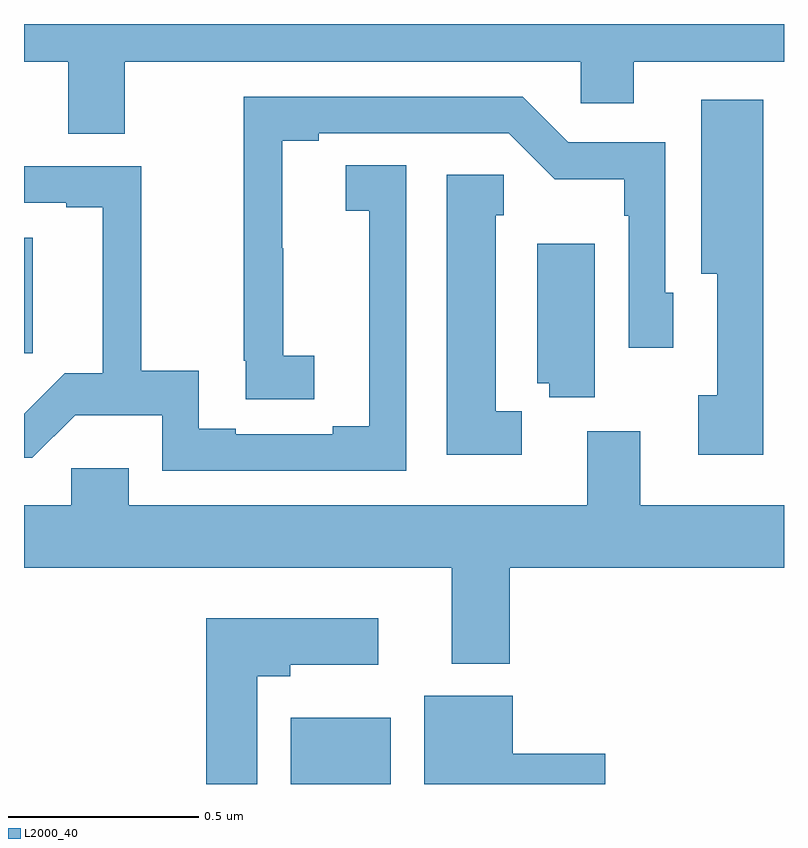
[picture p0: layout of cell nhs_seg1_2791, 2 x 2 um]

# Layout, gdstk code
import gdstk
lib = gdstk.Library(unit=1e-6, precision=1e-09)
def R(c, l, rs):  # rectangles x0, y0, x1, y1
    for r in rs: c.add(gdstk.rectangle(r[:2], r[2:], *l))
def P(c, l, *ps):  # polygons
    for p in ps: c.add(gdstk.Polygon(p, *l))
L2000_40 = (2000, 40)

nhs_seg1_2791 = lib.new_cell('nhs_seg1_2791')
R(nhs_seg1_2791, L2000_40, [(146.702,515.199,146.965,515.374), (146,516.332,146.023,516.637)])
P(nhs_seg1_2791, L2000_40, [(146.265,517.1),(147.465,517.1),(147.465,516.99),(147.604,516.99),(147.604,517.1),(148,517.1),(148,517.199),(146,517.199),(146,517.1),(146.117,517.1),(146.117,516.91),(146.265,516.91)],
  [(146.764,516.326),(146.682,516.326),(146.682,516.609),(146.68,516.609),(146.68,516.892),(146.776,516.892),(146.776,516.912),(147.276,516.912),(147.397,516.791),(147.579,516.791),(147.579,516.695),(147.591,516.695),(147.591,516.347),(147.708,516.347),(147.708,516.492),(147.687,516.492),(147.687,516.888),(147.432,516.888),(147.312,517.008),(146.578,517.008),(146.578,516.313),(146.584,516.313),(146.584,516.211),(146.764,516.211)],
  [(147.946,517),(147.782,517),(147.782,516.542),(147.824,516.542),(147.824,516.222),(147.774,516.222),(147.774,516.066),(147.946,516.066)],
  [(147.006,516.827),(146.847,516.827),(146.847,516.707),(146.908,516.707),(146.908,516.403),(146.909,516.403),(146.909,516.14),(146.813,516.14),(146.813,516.12),(146.557,516.12),(146.557,516.134),(146.46,516.134),(146.46,516.287),(146.309,516.287),(146.309,516.825),(146,516.825),(146,516.729),(146.111,516.729),(146.111,516.717),(146.207,516.717),(146.207,516.28),(146.107,516.28),(146,516.173),(146,516.057),(146.022,516.057),(146.135,516.17),(146.364,516.17),(146.364,516.024),(147.006,516.024)],
  [(147.31,516.18),(147.241,516.18),(147.241,516.696),(147.263,516.696),(147.263,516.802),(147.113,516.802),(147.113,516.065),(147.31,516.065)],
  [(147.502,516.621),(147.35,516.621),(147.35,516.254),(147.382,516.254),(147.382,516.217),(147.502,516.217)],
  [(147.278,515.768),(148,515.768),(148,515.932),(147.622,515.932),(147.622,516.127),(147.482,516.127),(147.482,515.932),(146.275,515.932),(146.275,516.03),(146.124,516.03),(146.124,515.932),(146,515.932),(146,515.768),(147.125,515.768),(147.125,515.516),(147.278,515.516)],
  [(146.614,515.483),(146.701,515.483),(146.701,515.513),(146.932,515.513),(146.932,515.635),(146.48,515.635),(146.48,515.199),(146.614,515.199)],
  [(147.529,515.279),(147.286,515.279),(147.286,515.431),(147.053,515.431),(147.053,515.199),(147.529,515.199)])

lib.write_gds('nhs_seg1_2791.gds')
